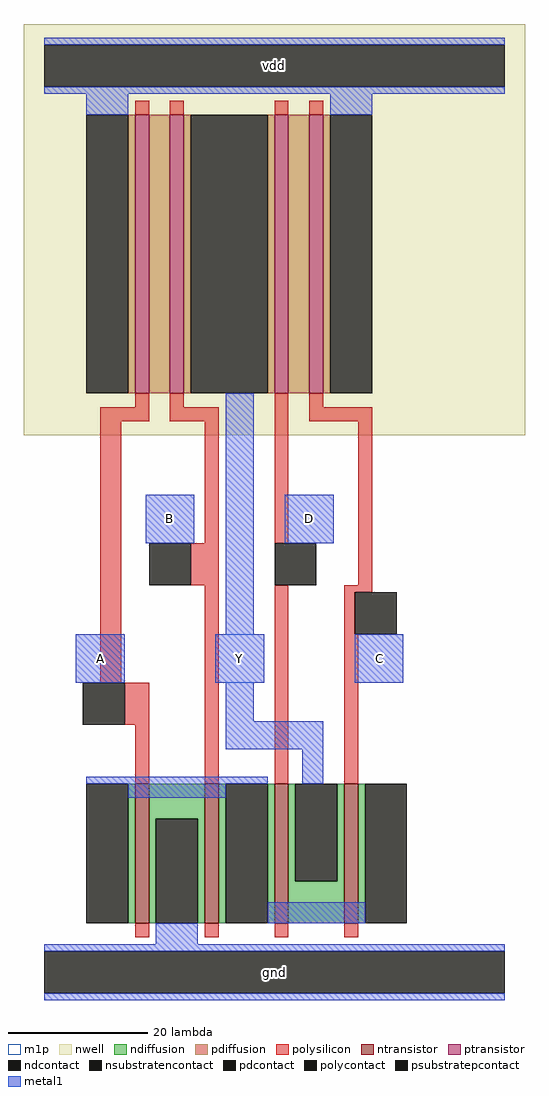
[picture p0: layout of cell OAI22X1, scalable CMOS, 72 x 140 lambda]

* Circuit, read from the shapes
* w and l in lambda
.subckt OAI22X1 A B C D Y vdd gnd
M1 gnd A n1 gnd nfet w=20 l=2
M2 n1 B gnd gnd nfet w=20 l=2
M3 Y D n1 gnd nfet w=20 l=2
M4 n1 C Y gnd nfet w=20 l=2
M5 n2 A vdd vdd pfet w=40 l=2
M6 Y B n2 vdd pfet w=40 l=2
M7 n3 D Y vdd pfet w=40 l=2
M8 vdd C n3 vdd pfet w=40 l=2
.ends

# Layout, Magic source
magic
tech scmos
magscale 1 2
<< nwell >>
rect -12 154 132 272
<< ntransistor >>
rect 20 14 24 54
rect 40 14 44 54
rect 60 14 64 54
rect 80 14 84 54
<< ptransistor >>
rect 20 166 24 246
rect 30 166 34 246
rect 60 166 64 246
rect 70 166 74 246
<< ndiffusion >>
rect 18 14 20 54
rect 24 44 40 54
rect 24 14 26 44
rect 38 14 40 44
rect 44 14 46 54
rect 58 14 60 54
rect 64 26 66 54
rect 78 26 80 54
rect 64 14 80 26
rect 84 14 86 54
<< pdiffusion >>
rect 18 166 20 246
rect 24 166 30 246
rect 34 166 36 246
rect 58 166 60 246
rect 64 166 70 246
rect 74 166 76 246
<< ndcontact >>
rect 6 14 18 54
rect 26 14 38 44
rect 46 14 58 54
rect 66 26 78 54
rect 86 14 98 54
<< pdcontact >>
rect 6 166 18 246
rect 36 166 58 246
rect 76 166 88 246
<< psubstratepcontact >>
rect -6 -6 126 6
<< nsubstratencontact >>
rect -6 254 126 266
<< polysilicon >>
rect 20 246 24 250
rect 30 246 34 250
rect 60 246 64 250
rect 70 246 74 250
rect 20 162 24 166
rect 10 158 24 162
rect 30 162 34 166
rect 30 158 44 162
rect 10 83 16 158
rect 40 123 44 158
rect 36 111 44 123
rect 17 71 24 83
rect 20 54 24 71
rect 40 54 44 111
rect 60 123 64 166
rect 70 162 74 166
rect 70 158 88 162
rect 84 111 88 158
rect 60 54 64 111
rect 80 109 88 111
rect 80 97 83 109
rect 80 54 84 97
rect 20 10 24 14
rect 40 10 44 14
rect 60 10 64 14
rect 80 10 84 14
<< polycontact >>
rect 24 111 36 123
rect 5 71 17 83
rect 60 111 72 123
rect 83 97 95 109
<< metal1 >>
rect -6 266 126 268
rect -6 252 126 254
rect 6 246 18 252
rect 76 246 88 252
rect 23 123 37 137
rect 46 97 54 166
rect 63 123 77 137
rect 3 83 17 97
rect 43 83 57 97
rect 83 83 97 97
rect 46 72 54 83
rect 46 64 74 72
rect 6 54 58 56
rect 68 54 74 64
rect 18 50 46 54
rect 58 14 86 20
rect 26 8 38 14
rect -6 6 126 8
rect -6 -8 126 -6
<< m1p >>
rect 23 123 37 137
rect 63 123 77 137
rect 3 83 17 97
rect 43 83 57 97
rect 83 83 97 97
<< labels >>
rlabel metal1 -6 252 126 268 0 vdd
port 5 nsew power bidirectional abutment
rlabel metal1 -6 -8 126 8 0 gnd
port 6 nsew ground bidirectional abutment
rlabel metal1 3 83 17 97 0 A
port 0 nsew signal input
rlabel metal1 23 123 37 137 0 B
port 1 nsew signal input
rlabel metal1 83 83 97 97 0 C
port 2 nsew signal input
rlabel metal1 63 123 77 137 0 D
port 3 nsew signal input
rlabel metal1 43 83 57 97 0 Y
port 4 nsew signal output
<< properties >>
string FIXED_BBOX 0 0 120 260
string LEFclass CORE
string LEFsite core
string LEFsymmetry X Y
<< end >>
